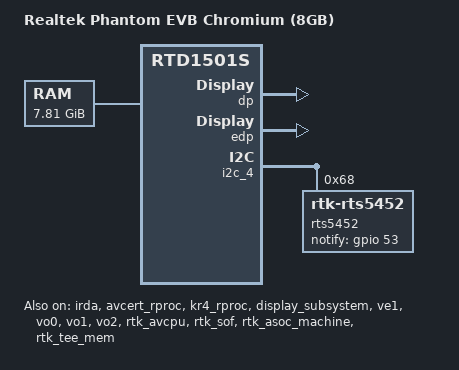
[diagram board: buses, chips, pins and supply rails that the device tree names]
// SPDX-License-Identifier: (GPL-2.0-or-later OR BSD-2-Clause)
/*
 * Realtek RTD1501S Phantom EVB
 *
 * Copyright (c) 2024 Realtek Semiconductor Corp.
 */

/dts-v1/;

#include "rtd1501s-phantom.dtsi"

/ {
	compatible = "realtek,phantom", "realtek,rtd1501s";
	model = "Realtek Phantom EVB Chromium (8GB)";
	chosen {
		bootargs = "earlycon=uart8250,mmio32,0x98007800 console=ttyS0,460800 8250.nr_uarts=2 init=/init loglevel=8 max_loop=64 loop.max_part=7 firmware_class.path=/vendor/firmware/,/vendor/av_fw";
	};

	memory: memory@40000 {
		device_type = "memory";
		reg = <0x00000000 0x00050000 0x00000000 0x7ffb0000>,
		      <0x00000000 0x8a100000 0x00000000 0x0def0000>,
		      <0x00000000 0x98700000 0x00000000 0x07900000>,
		      <0x00000000 0xa0600000 0x00000000 0x5ea00000>,
		      <0x00000001 0x00000000 0x00000000 0xa0000000>,
		      <0x00000001 0xa0600000 0x00000000 0x5fa00000>;
	};

	aliases {
		ethernet = &nic;
	};
};

&sdio {
	status = "disabled";
};

&npu_pp {
	status = "disabled";
};

&rtk_urpc_service {
	status = "disabled";
};

&sound {
	status = "disabled";
};

&audio_out {
	status = "disabled";
};

&irda {
	status = "okay";
};

&avcert_rproc {
	//firmware-name = "realtek/AFW_Certificate.bin";
	status = "okay";
};

&hifi_rproc {
	status = "disabled";
};

&hifi_rpmsg {
	/delete-property/ rproc;
	skip-handshake;
};

&kr4_rproc {
	status = "okay";
};

&kr4_rpmsg {
	status = "okay";
};

&display_subsystem {
	status = "okay";
	memory-region = <&cma_reserved_2>;
	ports = <&vo1_out>, <&vo0_out>, <&vo2_out>;
};

&ve1 {
	memory-region = <&cma_reserved_2>;
	status = "okay";
};

&vo0 {
	status = "okay";
	memory-region = <&cma_reserved_2>;
};

&vo1 {
	status = "okay";
	memory-region = <&cma_reserved_2>;
};

&vo2 {
	status = "okay";
	memory-region = <&cma_reserved_2>;
};

&hdmi {
	memory-region = <&cma_reserved_2>;
	//check-connector-limit;
	ext-flags = <0x8>;
};

&dp {
	status = "okay";
	memory-region = <&cma_reserved_2>;
	realtek,iso = <&iso>;
	extcon = <&usb1_u3phy>;
};

&edp {
	status = "okay";
	assr-en = <1>;
	memory-region = <&cma_reserved_2>;
};

&i2c_4 {
	status = "okay";
	rts5452@68 {
		compatible = "rtk-rts5452";
		reg = <0x68>;
		notify-gpios = <&gpio 53 GPIO_PULL_UP>;

		orientation-switch = <&usb1_u3phy>;
		mode-switch = <&usb1_u3phy>;
	};
};

&usb1_u3phy {
	svid = <0xff01>;
};

&reserved_memory {
	protected-mem@50000 {
		status = "okay";
	};

	metadata@c40000 {
		status = "okay";
	};

	linux,cma {
		alloc-ranges=<0x0 0x20000000 0x0 0x20000000>;
	};

	linux,cma_2 {
		size = <0x0 0x50000000>; /* 1280M */
	};
};

&rtk_avcpu {
	status = "okay";
};

&rtk_sof {
	status = "okay";
	intr-syscon = <&sb2>;
	ipc-syscon = <&sb2_pmu>;
};

&rtk_asoc_machine {
	pinctrl-names = "default";
	pinctrl-0 = <&ao_i2s0_loc0_pins>, <&ao_i2s0_pins>, <&ao_i2s1_loc0_no_mck_pins>, <&ai_i2s0_d0_pins>, <&ai_dmic0_pins>;
	realtek,audio-platform = <&rtk_sof>;
	realtek,hdmi-audio = <&hdmi>;
	realtek,dp-audio = <&dp>;
	realtek,dai-link = "RDAI_I2S","RDAI_I2S1","RDAI_DMIC","RDAI_HDMI","RDAI_DP";
	status = "okay";
};

&rtk_tee_mem {
	status = "okay";
};

&sb2 {
	kr4_rpmsg: kr4-rpmsg {
		kr4-intr-channel{
			memory-region = <&cma_reserved_2>;
		};
	};
};

&firmware {
	chromeos {
		compatible = "chromeos-firmware";
		firmware-type = "nonchrome";
	};
};
